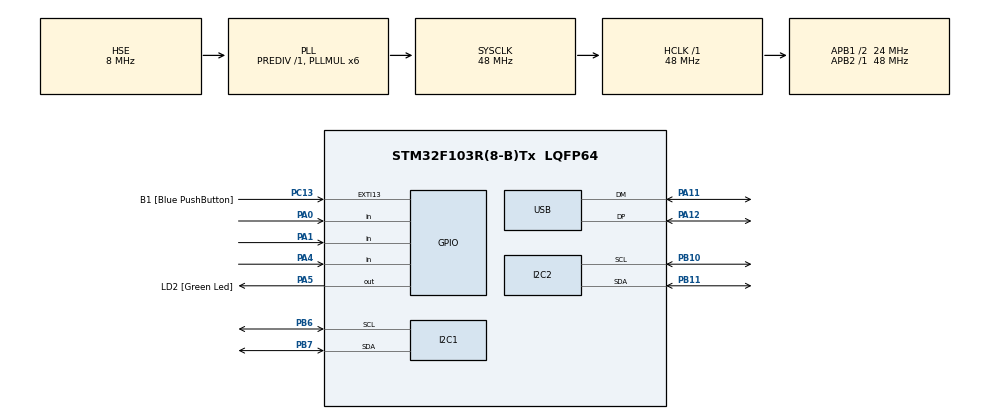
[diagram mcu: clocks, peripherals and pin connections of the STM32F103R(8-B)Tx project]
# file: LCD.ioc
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Mcu.Family=STM32F1
Mcu.Name=STM32F103R(8-B)Tx
Mcu.Package=LQFP64
NVIC.EXTI15_10_IRQn=true\:0\:0\:false\:false\:true\:true
NVIC.PriorityGroup=NVIC_PRIORITYGROUP_4
NVIC.USB_LP_CAN1_RX0_IRQn=true\:0\:0\:false\:false\:true\:false
PA0-WKUP.Signal=GPIO_Input
PA1.Signal=GPIO_Input
PA11.Mode=Device
PA11.Signal=USB_DM
PA12.Mode=Device
PA12.Signal=USB_DP
PA13.GPIO_Label=TMS
PA13.Mode=Serial_Wire
PA13.Signal=SYS_JTMS-SWDIO
PA14.GPIO_Label=TCK
PA14.Mode=Serial_Wire
PA14.Signal=SYS_JTCK-SWCLK
PA4.Signal=GPIO_Input
PA5.GPIO_Label=LD2 [Green Led]
PA5.GPIO_ModeDefaultOutputPP=GPIO_MODE_OUTPUT_PP
PA5.GPIO_PuPd=GPIO_NOPULL
PA5.GPIO_Speed=GPIO_SPEED_FREQ_LOW
PA5.Signal=GPIO_Output
PB10.Mode=I2C
PB10.Signal=I2C2_SCL
PB11.Mode=I2C
PB11.Signal=I2C2_SDA
PB6.Mode=I2C
PB6.Signal=I2C1_SCL
PB7.Mode=I2C
PB7.Signal=I2C1_SDA
PC13-TAMPER-RTC.GPIO_Label=B1 [Blue PushButton]
PC13-TAMPER-RTC.GPIO_PuPd=GPIO_NOPULL
PC13-TAMPER-RTC.Signal=GPXTI13
PC14-OSC32_IN.Mode=LSE-External-Oscillator
PC14-OSC32_IN.Signal=RCC_OSC32_IN
PC15-OSC32_OUT.Mode=LSE-External-Oscillator
PC15-OSC32_OUT.Signal=RCC_OSC32_OUT
PD0-OSC_IN.Mode=HSE-External-Clock-Source
PD0-OSC_IN.Signal=RCC_OSC_IN
PD1-OSC_OUT.Mode=HSE-External-Clock-Source
PD1-OSC_OUT.Signal=RCC_OSC_OUT
ProjectManager.HeapSize=0x200
ProjectManager.StackSize=0x400
ProjectManager.TargetToolchain=MDK-ARM V5
RCC.AHBFreq_Value=48000000
RCC.APB1CLKDivider=RCC_HCLK_DIV2
RCC.APB1Freq_Value=24000000
RCC.APB1TimFreq_Value=48000000
RCC.APB2Freq_Value=48000000
RCC.APB2TimFreq_Value=48000000
RCC.HCLKFreq_Value=48000000
RCC.PLLMUL=RCC_PLL_MUL6
RCC.RTCClockSelection=RCC_RTCCLKSOURCE_LSE
RCC.SYSCLKFreq_VALUE=48000000
RCC.SYSCLKSource=RCC_SYSCLKSOURCE_PLLCLK
RCC.USBFreq_Value=48000000
USB_DEVICE.CLASS_NAME_FS=CDC
USB_DEVICE.VirtualMode=Cdc
USB_DEVICE.VirtualModeFS=Cdc_FS
VP_USB_DEVICE_VS_USB_DEVICE_CDC_FS.Mode=CDC_FS
board=NUCLEO-F103RB

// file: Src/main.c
/**
  ******************************************************************************
  * @file           : main.c
  * @brief          : Main program body
  ******************************************************************************
  * This notice applies to any and all portions of this file
  * that are not between comment pairs USER CODE BEGIN and
  * USER CODE END. Other portions of this file, whether
  * inserted by the user or by software development tools
  * are owned by their respective copyright owners.
  *
  * Copyright (c) 2018 STMicroelectronics International N.V.
  * All rights reserved.
  *
  * Redistribution and use in source and binary forms, with or without
  * modification, are permitted, provided that the following conditions are met:
  *
  * 1. Redistribution of source code must retain the above copyright notice,
  *    this list of conditions and the following disclaimer.
  * 2. Redistributions in binary form must reproduce the above copyright notice,
  *    this list of conditions and the following disclaimer in the documentation
  *    and/or other materials provided with the distribution.
  * 3. Neither the name of STMicroelectronics nor the names of other
  *    contributors to this software may be used to endorse or promote products
  *    derived from this software without specific written permission.
  * 4. This software, including modifications and/or derivative works of this
  *    software, must execute solely and exclusively on microcontroller or
  *    microprocessor devices manufactured by or for STMicroelectronics.
  * 5. Redistribution and use of this software other than as permitted under
  *    this license is void and will automatically terminate your rights under
  *    this license.
  *
  * THIS SOFTWARE IS PROVIDED BY STMICROELECTRONICS AND CONTRIBUTORS "AS IS"
  * AND ANY EXPRESS, IMPLIED OR STATUTORY WARRANTIES, INCLUDING, BUT NOT
  * LIMITED TO, THE IMPLIED WARRANTIES OF MERCHANTABILITY, FITNESS FOR A
  * PARTICULAR PURPOSE AND NON-INFRINGEMENT OF THIRD PARTY INTELLECTUAL PROPERTY
  * RIGHTS ARE DISCLAIMED TO THE FULLEST EXTENT PERMITTED BY LAW. IN NO EVENT
  * SHALL STMICROELECTRONICS OR CONTRIBUTORS BE LIABLE FOR ANY DIRECT, INDIRECT,
  * INCIDENTAL, SPECIAL, EXEMPLARY, OR CONSEQUENTIAL DAMAGES (INCLUDING, BUT NOT
  * LIMITED TO, PROCUREMENT OF SUBSTITUTE GOODS OR SERVICES; LOSS OF USE, DATA,
  * OR PROFITS; OR BUSINESS INTERRUPTION) HOWEVER CAUSED AND ON ANY THEORY OF
  * LIABILITY, WHETHER IN CONTRACT, STRICT LIABILITY, OR TORT (INCLUDING
  * NEGLIGENCE OR OTHERWISE) ARISING IN ANY WAY OUT OF THE USE OF THIS SOFTWARE,
  * EVEN IF ADVISED OF THE POSSIBILITY OF SUCH DAMAGE.
  *
  ******************************************************************************
  */
#include "main.h"
#include "stm32f1xx_hal.h"
#include "usb_device.h"
#include "lcd_hd44780_i2c.h"

//volatile uint32_t timer_ms = 0;
I2C_HandleTypeDef hi2c1;
I2C_HandleTypeDef hi2c2;

/* USER CODE BEGIN PV */
/* Private variables ---------------------------------------------------------*/

/* USER CODE END PV */

void SystemClock_Config(void);
static void MX_GPIO_Init(void);
static void MX_I2C1_Init(void);
static void MX_I2C2_Init(void);
void lcd_Start();
void Licznik(void);
void Pozycja(void);
void Czas(void);

int main(void)
{
  /* USER CODE BEGIN 1 */
	//uint8_t buffer_lcd [] = "Test\0";
	unsigned char *menu[5] = {" MENU: \0","Pozycja\0"," Czas \0","Licznik\0", "Informacje\0"};
	volatile unsigned long int stanA, ostatniStanA;
	unsigned char pozycja;
	pozycja = 0;
  /* USER CODE END 1 */

  /* MCU Configuration----------------------------------------------------------*/

  /* Reset of all peripherals, Initializes the Flash interface and the Systick. */
  HAL_Init();

  /* Configure the system clock */
  SystemClock_Config();

  /* Initialize all configured peripherals */
  MX_GPIO_Init();
  MX_I2C1_Init();
  MX_I2C2_Init();
  MX_USB_DEVICE_Init();
	lcd_Start();
  /* USER CODE BEGIN 2 */
	lcdCommand (LCD_CLEAR, LCD_PARAM_SET);
	//lcdPrintStr(buffer_lcd, sizeof(buffer_lcd));
  /* USER CODE END 2 */

	koniec:
	lcdDisplayClear();
	lcdPrintStr("-- \0",3);
	lcdPrintStr(menu[0],7);
	lcdPrintStr(" --\0",3);
	lcdSetCursorPosition(4,1);
	lcdPrintStr(menu[pozycja+1],7);

	ostatniStanA = HAL_GPIO_ReadPin(GPIOA, GPIO_PIN_1);

  /* Infinite loop */
  /* USER CODE BEGIN WHILE */
  while (1)
  {
		stanA = HAL_GPIO_ReadPin(GPIOA, GPIO_PIN_1);
		if(stanA != ostatniStanA)
		{
			if(HAL_GPIO_ReadPin(GPIOA, GPIO_PIN_4) != stanA)
				pozycja++;
			else
				pozycja--;
			switch(pozycja)
			{
				case 0:
						lcdDisplayClear();
						lcdPrintStr("-- \0",3);
						lcdPrintStr(menu[0],7);
						lcdPrintStr(" --\0",3);
						lcdSetCursorPosition(4,1);
						lcdPrintStr(menu[pozycja+1],7);
						break;
				case 2:
						lcdDisplayClear();
						lcdPrintStr("-- \0",3);
						lcdPrintStr(menu[1],7);
						lcdPrintStr(" --\0",3);
						lcdSetCursorPosition(3,1);
						lcdPrintStr(menu[2],6);
						break;
				case 4:
						lcdDisplayClear();
						lcdPrintStr("-- \0",3);
						lcdPrintStr(menu[2],6);
						lcdPrintStr(" --\0",3);
						lcdSetCursorPosition(3,1);
						lcdPrintStr(menu[3], 7);
						break;
				case 6:
						lcdDisplayClear();
						lcdPrintStr("-- \0",3);
						lcdPrintStr(menu[3],7);
						lcdPrintStr(" --\0",3);
						lcdSetCursorPosition(1,1);
						lcdPrintStr(menu[4],10);
						break;
				case 8:
						lcdDisplayClear();
						lcdPrintStr("-- \0",3);
						lcdPrintStr(menu[4],10);
						lcdPrintStr(" --\0",3);

						break;
				default:
					break;

			}
		ostatniStanA = stanA;
		}

		if(HAL_GPIO_ReadPin(GPIOA, GPIO_PIN_0) == 0)
			switch (pozycja)
			{
					case 2:
					Pozycja();
					pozycja = 0;
					goto koniec;
				break;
				case 4:
					Czas();
					pozycja = 0;
					goto koniec;
				break;
				case 6:
					Licznik();
					pozycja = 0;
					goto koniec;
				break;
				case 8:
					lcd_Start();
					HAL_Delay(500);
					pozycja = 0;
					goto koniec;
				default:
				break;
			}
	}
  /* USER CODE END WHILE */

		HAL_Delay(500);

}

void SystemClock_Config(void)
{

  RCC_OscInitTypeDef RCC_OscInitStruct;
  RCC_ClkInitTypeDef RCC_ClkInitStruct;
  RCC_PeriphCLKInitTypeDef PeriphClkInit;

    /**Initializes the CPU, AHB and APB busses clocks
    */
  RCC_OscInitStruct.OscillatorType = RCC_OSCILLATORTYPE_HSE;
  RCC_OscInitStruct.HSEState = RCC_HSE_BYPASS;
  RCC_OscInitStruct.HSEPredivValue = RCC_HSE_PREDIV_DIV1;
  RCC_OscInitStruct.HSIState = RCC_HSI_ON;
  RCC_OscInitStruct.PLL.PLLState = RCC_PLL_ON;
  RCC_OscInitStruct.PLL.PLLSource = RCC_PLLSOURCE_HSE;
  RCC_OscInitStruct.PLL.PLLMUL = RCC_PLL_MUL6;
  if (HAL_RCC_OscConfig(&RCC_OscInitStruct) != HAL_OK)
  {
    _Error_Handler(__FILE__, __LINE__);
  }

    /**Initializes the CPU, AHB and APB busses clocks
    */
  RCC_ClkInitStruct.ClockType = RCC_CLOCKTYPE_HCLK|RCC_CLOCKTYPE_SYSCLK
                              |RCC_CLOCKTYPE_PCLK1|RCC_CLOCKTYPE_PCLK2;
  RCC_ClkInitStruct.SYSCLKSource = RCC_SYSCLKSOURCE_PLLCLK;
  RCC_ClkInitStruct.AHBCLKDivider = RCC_SYSCLK_DIV1;
  RCC_ClkInitStruct.APB1CLKDivider = RCC_HCLK_DIV2;
  RCC_ClkInitStruct.APB2CLKDivider = RCC_HCLK_DIV1;

  if (HAL_RCC_ClockConfig(&RCC_ClkInitStruct, FLASH_LATENCY_1) != HAL_OK)
  {
    _Error_Handler(__FILE__, __LINE__);
  }

  PeriphClkInit.PeriphClockSelection = RCC_PERIPHCLK_USB;
  PeriphClkInit.UsbClockSelection = RCC_USBCLKSOURCE_PLL;
  if (HAL_RCCEx_PeriphCLKConfig(&PeriphClkInit) != HAL_OK)
  {
    _Error_Handler(__FILE__, __LINE__);
  }

    /**Configure the Systick interrupt time
    */
  HAL_SYSTICK_Config(HAL_RCC_GetHCLKFreq()/1000);

    /**Configure the Systick
    */
  HAL_SYSTICK_CLKSourceConfig(SYSTICK_CLKSOURCE_HCLK);

  /* SysTick_IRQn interrupt configuration */
  HAL_NVIC_SetPriority(SysTick_IRQn, 0, 0);
}

/* I2C1 init function */

static void MX_I2C1_Init(void)
{

  hi2c1.Instance = I2C1;
  hi2c1.Init.ClockSpeed = 100000;
  hi2c1.Init.DutyCycle = I2C_DUTYCYCLE_2;
  hi2c1.Init.OwnAddress1 = 0;
  hi2c1.Init.AddressingMode = I2C_ADDRESSINGMODE_7BIT;
  hi2c1.Init.DualAddressMode = I2C_DUALADDRESS_DISABLE;
  hi2c1.Init.OwnAddress2 = 0;
  hi2c1.Init.GeneralCallMode = I2C_GENERALCALL_DISABLE;
  hi2c1.Init.NoStretchMode = I2C_NOSTRETCH_DISABLE;
  if (HAL_I2C_Init(&hi2c1) != HAL_OK)
  {
    _Error_Handler(__FILE__, __LINE__);
  }

}

/* I2C2 init function */
static void MX_I2C2_Init(void)
{

  hi2c2.Instance = I2C2;
  hi2c2.Init.ClockSpeed = 100000;
  hi2c2.Init.DutyCycle = I2C_DUTYCYCLE_2;
  hi2c2.Init.OwnAddress1 = 0;
  hi2c2.Init.AddressingMode = I2C_ADDRESSINGMODE_7BIT;
  hi2c2.Init.DualAddressMode = I2C_DUALADDRESS_DISABLE;
  hi2c2.Init.OwnAddress2 = 0;
  hi2c2.Init.GeneralCallMode = I2C_GENERALCALL_DISABLE;
  hi2c2.Init.NoStretchMode = I2C_NOSTRETCH_DISABLE;
  if (HAL_I2C_Init(&hi2c2) != HAL_OK)
  {
    _Error_Handler(__FILE__, __LINE__);
  }

}

/** Configure pins as
        * Analog
        * Input
        * Output
        * EVENT_OUT
        * EXTI
*/
static void MX_GPIO_Init(void)
{

  GPIO_InitTypeDef GPIO_InitStruct;

  /* GPIO Ports Clock Enable */
  __HAL_RCC_GPIOC_CLK_ENABLE();
  __HAL_RCC_GPIOD_CLK_ENABLE();
  __HAL_RCC_GPIOA_CLK_ENABLE();
  __HAL_RCC_GPIOB_CLK_ENABLE();

  /*Configure GPIO pin Output Level */
  HAL_GPIO_WritePin(LD2_GPIO_Port, LD2_Pin, GPIO_PIN_RESET);

  /*Configure GPIO pin : B1_Pin */
  GPIO_InitStruct.Pin = B1_Pin;
  GPIO_InitStruct.Mode = GPIO_MODE_IT_RISING;
  GPIO_InitStruct.Pull = GPIO_NOPULL;
  HAL_GPIO_Init(B1_GPIO_Port, &GPIO_InitStruct);

  /*Configure GPIO pins : PA0 PA1 PA4 */
  GPIO_InitStruct.Pin = GPIO_PIN_0|GPIO_PIN_1|GPIO_PIN_4;
  GPIO_InitStruct.Mode = GPIO_MODE_INPUT;
  GPIO_InitStruct.Pull = GPIO_NOPULL;
  HAL_GPIO_Init(GPIOA, &GPIO_InitStruct);

  /*Configure GPIO pin : LD2_Pin */
  GPIO_InitStruct.Pin = LD2_Pin;
  GPIO_InitStruct.Mode = GPIO_MODE_OUTPUT_PP;
  GPIO_InitStruct.Pull = GPIO_NOPULL;
  GPIO_InitStruct.Speed = GPIO_SPEED_FREQ_LOW;
  HAL_GPIO_Init(LD2_GPIO_Port, &GPIO_InitStruct);

  /* EXTI interrupt init*/
  HAL_NVIC_SetPriority(EXTI15_10_IRQn, 0, 0);
  HAL_NVIC_EnableIRQ(EXTI15_10_IRQn);

}

void lcd_Start()
{

	lcdInit(&hi2c1, 0x27, 16,2);                   //inicjalizacja wysietlacza
  lcdDisplayClear();    												//wyczysc wyswietlacz
	lcdPrintStr("Projekt na STM32\0", 16);
	lcdSetCursorPosition(0,1);
	lcdPrintStr("Damian Dzialo\0", 13);
	while (1)
	{
		if (HAL_GPIO_ReadPin(GPIOA, GPIO_PIN_0) == 0)
				break;
	}

	HAL_Delay(2500);
	lcdDisplayClear();
	return;
}

void Licznik(void)
{
	volatile unsigned long int licznik, stanA, ostatniStanA, ostatni_licznik;
	unsigned char licznikTekst[5] = {"0\0"};
	licznik = 0;
	HAL_Delay(500);
	ostatniStanA = HAL_GPIO_ReadPin(GPIOA, GPIO_PIN_1);

	lcdDisplayClear();
	lcdPrintStr("Licznik \0", 8);
	sprintf((char*)licznikTekst,"%2i\0",licznik);
	lcdSetCursorPosition(8,0);
	lcdPrintStr(licznikTekst,3);
	while(1)
	{
		ostatni_licznik = licznik;
		stanA = HAL_GPIO_ReadPin(GPIOA, GPIO_PIN_1);
		if(stanA != ostatniStanA)
		{

			if(HAL_GPIO_ReadPin(GPIOA, GPIO_PIN_4) != stanA)
				licznik++;
			else
				licznik--;

	lcdDisplayClear();
	lcdPrintStr("Licznik \0", 8);
	sprintf((char*)licznikTekst,"%2i\0",licznik);
	lcdSetCursorPosition(8,0);
	lcdPrintStr(licznikTekst,3);
		if(ostatni_licznik != licznik)
			{
				if (licznik > ostatni_licznik)
				{
					lcdSetCursorPosition(0,1);
					lcdPrintStr("Obrot w prawo\0", 13);
				}
				else
				{
					lcdSetCursorPosition(0,1);
					lcdPrintStr("Obrot w lewo\0", 12);
				}
			}

		ostatniStanA  = stanA;
		}

		if(HAL_GPIO_ReadPin(GPIOA, GPIO_PIN_0) == 0)
		{
		HAL_Delay(3000);
			if(HAL_GPIO_ReadPin(GPIOA, GPIO_PIN_0) == 0)
				{
					return;
				}
		}
	}

}

void Pozycja (void)
{
	volatile long int licznik, stanA, ostatniStanA, stopnie;
  unsigned char stopnieTekst[5] = {"0\0"};
	licznik = 0;
	HAL_Delay(500);
	lcdDisplayClear();
	lcdPrintStr("Ustaw kat \0",10);
	lcdSetCursorPosition(0,1);
	lcdPrintStr("nachylenia \0", 10);

	while (1)
	{
		if(HAL_GPIO_ReadPin(GPIOA, GPIO_PIN_0) == 0)
		{
			HAL_Delay(500);
			ostatniStanA = HAL_GPIO_ReadPin(GPIOA, GPIO_PIN_1);
			lcdDisplayClear();
			lcdPrintStr("Wychylenie:\0",11);
			stopnie = 15 * (licznik/2);
			sprintf((char *)stopnieTekst,"%2i\0",stopnie);
			lcdSetCursorPosition(12,1);
			lcdPrintStr(stopnieTekst,3);
			lcdSetCursorPosition(15,1);
			lcdPrintChar(223);
			while (1)
			{
				stanA = HAL_GPIO_ReadPin(GPIOA, GPIO_PIN_1);
				if(stanA != ostatniStanA)
				{
					if(HAL_GPIO_ReadPin(GPIOA, GPIO_PIN_4) != stanA)
						licznik++;
					else
						licznik--;
				lcdDisplayClear();
				lcdSetCursorPosition(0,1);
					lcdPrintStr("Wychylenie:\0",11);
				stopnie = 15 * (licznik/2);
				sprintf((char *)stopnieTekst,"%2i\0",stopnie);
				lcdSetCursorPosition(12,1);
				lcdPrintStr(stopnieTekst, 3);
				lcdSetCursorPosition(15,1);
				lcdPrintChar(223);
				if(stopnie == 360 || stopnie == -360)
				{
					licznik = 0;
					lcdDisplayClear();
					lcdSetCursorPosition(0,1);
					lcdPrintStr("Wychylenie:\0",11);
					stopnie = 15 * (licznik/2);
					sprintf((char *)stopnieTekst,"%2i\0",stopnie);
					lcdSetCursorPosition(12,1);
					lcdPrintStr(stopnieTekst,3);
					lcdSetCursorPosition(15,1);
					lcdPrintChar(223);
				}
				ostatniStanA  = stanA;
				}
				if(HAL_GPIO_ReadPin(GPIOA, GPIO_PIN_0) == 0)
					{
						HAL_Delay(3000);
						if(HAL_GPIO_ReadPin(GPIOA, GPIO_PIN_0) == 0)
							{
								return;
							}
					}
			}
		}
	}
}

void Czas(void)
{
	volatile unsigned long int stanA, ostatniStanA, czas;
	unsigned char czasTekst[3] = {"0\0"};
	czas = 0;
	HAL_Delay(500);
	lcdDisplayClear();
	lcdPrintStr("Ustaw czas pracy\0", 16);
	lcdSetCursorPosition(0,1);
	lcdPrintStr("w minutach\0", 10);
	while(1)
	{
	 if(HAL_GPIO_ReadPin(GPIOA, GPIO_PIN_0) == 0)
	 {
		 HAL_Delay(1000);
		 ostatniStanA = HAL_GPIO_ReadPin(GPIOA, GPIO_PIN_1);

		 lcdDisplayClear();
		lcdPrintStr("Czas: \0", 5);
		sprintf((char *)czasTekst, "%2i/0", czas);
		lcdPrintStr(czasTekst,2);
		lcdPrintStr("m\0",1);
		 while(1)
		 {
			 stanA = HAL_GPIO_ReadPin(GPIOA, GPIO_PIN_1);
		 if(ostatniStanA != stanA)
		 {
			 if(HAL_GPIO_ReadPin(GPIOA, GPIO_PIN_4) != stanA)
				czas++;
			else
				czas--;
		lcdDisplayClear();
		lcdPrintStr("Czas: \0", 5);
		sprintf((char *)czasTekst, "%2i/0", czas);
		lcdPrintStr(czasTekst,2);
		lcdPrintStr("m\0",1);
		if(czas == -1)
		{
			czas = 0;
			lcdDisplayClear();
			lcdPrintStr("Czas: \0", 5);
			sprintf((char *)czasTekst, "%2i/0", czas);
			lcdPrintStr(czasTekst,2);
			lcdPrintStr("m\0",1);
		}
		 ostatniStanA = stanA;
	}

		 if(HAL_GPIO_ReadPin(GPIOA, GPIO_PIN_0) == 0)
		{
			HAL_Delay(3000);
			if(HAL_GPIO_ReadPin(GPIOA, GPIO_PIN_0) == 0)
				{
					return;
				}
		}
	 }
	}
}
}
void _Error_Handler(char *file, int line)
{
  while(1)
  {
  }
}

/************************ (C) COPYRIGHT STMicroelectronics *****END OF FILE****/
